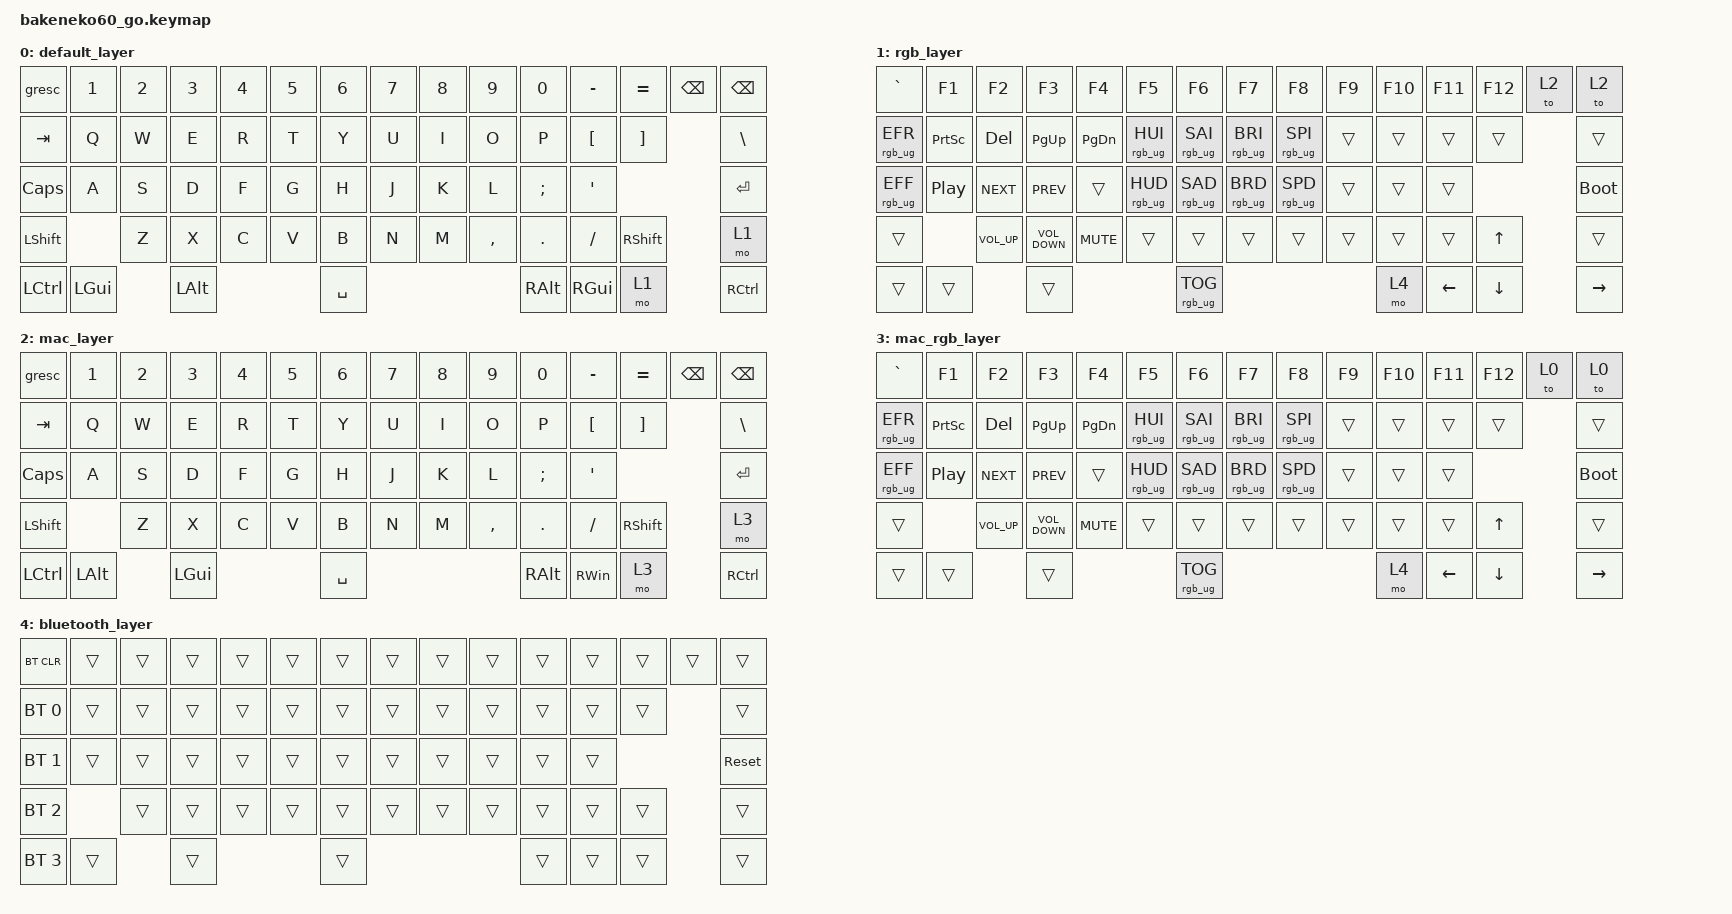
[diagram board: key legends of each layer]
/*
 * Copyright (c) 2023 Andrew Kannan
 *
 * SPDX-License-Identifier: MIT
 */

#include <behaviors.dtsi>
#include <dt-bindings/zmk/bt.h>
#include <dt-bindings/zmk/keys.h>
#include <dt-bindings/zmk/rgb.h>

/ {
    keymap {
        compatible = "zmk,keymap";

        default_layer {
            // ------------------------------------------------------------------------------------------
            // | ESC |  1  |  2  |  3  |  4  |  5  |  6  |  7  |  8  |  9  |  0  |  -  |  =  | BKSP|BKSP|
            // | TAB  |  Q  |  W  |  E  |  R  |  T  |  Y  |  U  |  I  |  O  |  P  |  [  |  ]  |   "|"   |
            // | CAPS  |  A  |  S  |  D  |  F  |  G  |  H  |  J  |  K  |  L  |  ;  |  '  |     ENTER    |
            // |  SHIFT  |  Z  |  X  |  C  |  V  |  B  |  N  |  M  |  ,  |  .  |  /  |  SHIFT  | MO(1)  |
            // |  CTL  |  WIN  |  ALT  |            SPACE              |  ALT  |  WIN  |  MO(1) |  CTL  |
            // ------------------------------------------------------------------------------------------

            bindings = <
&gresc     &kp N1    &kp N2  &kp N3    &kp N4  &kp N5  &kp N6     &kp N7  &kp N8  &kp N9     &kp N0    &kp MINUS  &kp EQUAL  &kp BSPC  &kp BSPC
&kp TAB    &kp Q     &kp W   &kp E     &kp R   &kp T   &kp Y      &kp U   &kp I   &kp O      &kp P     &kp LBKT   &kp RBKT             &kp BSLH
&kp CLCK   &kp A     &kp S   &kp D     &kp F   &kp G   &kp H      &kp J   &kp K   &kp L      &kp SEMI  &kp SQT                         &kp RET
&kp LSHFT            &kp Z   &kp X     &kp C   &kp V   &kp B      &kp N   &kp M   &kp COMMA  &kp DOT   &kp FSLH   &kp RSHFT            &mo 1
&kp LCTRL  &kp LGUI          &kp LALT                  &kp SPACE                             &kp RALT  &kp RGUI   &mo 1                &kp RCTRL
            >;
        };

        rgb_layer {
            // ------------------------------------------------------------------------------------------------
            // |    `   | F1  | F2  | F3  | F4  | F5  | F6  | F7  | F8  | F9  | F10  | F11 | F12 |     | DEL  |
            // | EFCT REV|   |  UP |   | HUEUP | SATUP | BRIUP | SPDUP |      |  PGUP |    |     |    |       |
            // | EFCT FWD | LT |  DN  | RT | HUEDN | SATDN | BRIDN | SPDDN | HOME | PGDN | END  |  | BOOTLDR  |
            // |             |     |      |      |     |     |     |     |     |     |     |         |        |
            // |         |      |      |             TOG RGB                | PRT SCR |       |       |  MO(2)|
            // ------------------------------------------------------------------------------------------------

            bindings = <
&kp GRAVE        &kp F1            &kp F2           &kp F3             &kp F4         &kp F5           &kp F6           &kp F7           &kp F8           &kp F9  &kp F10  &kp F11         &kp F12         &to 2  &to 2
&rgb_ug RGB_EFR  &kp PRINTSCREEN   &kp DEL          &kp PAGE_UP        &kp PAGE_DOWN  &rgb_ug RGB_HUI  &rgb_ug RGB_SAI  &rgb_ug RGB_BRI  &rgb_ug RGB_SPI  &trans  &trans   &trans          &trans                 &trans
&rgb_ug RGB_EFF  &kp C_PLAY_PAUSE  &kp C_NEXT       &kp C_PREV         &trans         &rgb_ug RGB_HUD  &rgb_ug RGB_SAD  &rgb_ug RGB_BRD  &rgb_ug RGB_SPD  &trans  &trans   &trans                                 &bootloader
&trans                             &kp C_VOLUME_UP  &kp C_VOLUME_DOWN  &kp C_MUTE     &trans           &trans           &trans           &trans           &trans  &trans   &trans          &kp UP_ARROW           &trans
&trans           &trans                             &trans                                             &rgb_ug RGB_TOG                                            &mo 4    &kp LEFT_ARROW  &kp DOWN_ARROW         &kp RIGHT_ARROW
            >;
        };

        mac_layer {
            bindings = <
&gresc     &kp N1    &kp N2  &kp N3    &kp N4  &kp N5  &kp N6     &kp N7  &kp N8  &kp N9     &kp N0    &kp MINUS      &kp EQUAL  &kp BSPC  &kp BSPC
&kp TAB    &kp Q     &kp W   &kp E     &kp R   &kp T   &kp Y      &kp U   &kp I   &kp O      &kp P     &kp LBKT       &kp RBKT             &kp BSLH
&kp CAPS   &kp A     &kp S   &kp D     &kp F   &kp G   &kp H      &kp J   &kp K   &kp L      &kp SEMI  &kp APOS                            &kp RET
&kp LSHFT            &kp Z   &kp X     &kp C   &kp V   &kp B      &kp N   &kp M   &kp COMMA  &kp DOT   &kp FSLH       &kp RSHFT            &mo 3
&kp LCTRL  &kp LALT          &kp LGUI                  &kp SPACE                             &kp RALT  &kp RIGHT_WIN  &mo 3                &kp RIGHT_CONTROL
            >;
        };

        mac_rgb_layer {
            bindings = <
&kp GRAVE        &kp F1            &kp F2           &kp F3             &kp F4         &kp F5           &kp F6           &kp F7           &kp F8           &kp F9  &kp F10  &kp F11         &kp F12         &to 0  &to 0
&rgb_ug RGB_EFR  &kp PRINTSCREEN   &kp DEL          &kp PAGE_UP        &kp PAGE_DOWN  &rgb_ug RGB_HUI  &rgb_ug RGB_SAI  &rgb_ug RGB_BRI  &rgb_ug RGB_SPI  &trans  &trans   &trans          &trans                 &trans
&rgb_ug RGB_EFF  &kp C_PLAY_PAUSE  &kp C_NEXT       &kp C_PREV         &trans         &rgb_ug RGB_HUD  &rgb_ug RGB_SAD  &rgb_ug RGB_BRD  &rgb_ug RGB_SPD  &trans  &trans   &trans                                 &bootloader
&trans                             &kp C_VOLUME_UP  &kp C_VOLUME_DOWN  &kp C_MUTE     &trans           &trans           &trans           &trans           &trans  &trans   &trans          &kp UP_ARROW           &trans
&trans           &trans                             &trans                                             &rgb_ug RGB_TOG                                            &mo 4    &kp LEFT_ARROW  &kp DOWN_ARROW         &kp RIGHT_ARROW
            >;
        };

        bluetooth_layer {
            // ------------------------------------------------------------------------------------------------
            // | BT CLR |     |     |     |     |     |     |     |     |     |     |    |    |       |       |
            // |  BT 1   |   |     |   |       |       |       |       |   |     |    |     |     |           |
            // |   BT 2   |    |      |    |       |       |       |       |      |      |      |  |   Reset  |
            // |    BT 3     |     |      |      |     |     |     |     |     |     |     |         |        |
            // |   BT 4  |      |      |                                    |         |       |       |       |
            // ------------------------------------------------------------------------------------------------

            bindings = <
&bt BT_CLR    &trans  &trans  &trans  &trans  &trans  &trans  &trans  &trans  &trans  &trans  &trans  &trans  &trans  &trans
&bt BT_SEL 0  &trans  &trans  &trans  &trans  &trans  &trans  &trans  &trans  &trans  &trans  &trans  &trans          &trans
&bt BT_SEL 1  &trans  &trans  &trans  &trans  &trans  &trans  &trans  &trans  &trans  &trans  &trans                  &sys_reset
&bt BT_SEL 2          &trans  &trans  &trans  &trans  &trans  &trans  &trans  &trans  &trans  &trans  &trans          &trans
&bt BT_SEL 3  &trans          &trans                  &trans                          &trans  &trans  &trans          &trans
            >;
        };
    };

    combos {
        compatible = "zmk,combos";

        combo_bt {
            timeout-ms = <50>;
            key-positions = <61 62>;
            bindings = <&mo 4>;
        };
    };
};
